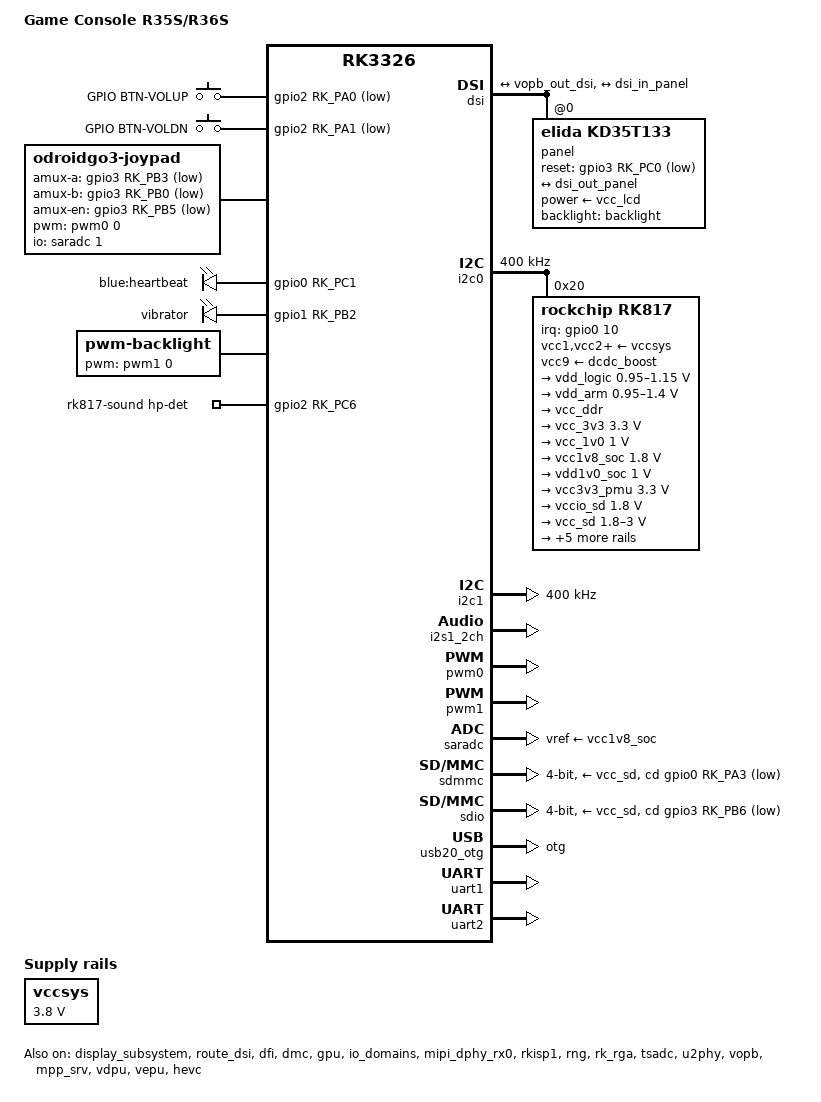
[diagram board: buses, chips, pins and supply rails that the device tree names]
// SPDX-License-Identifier: (GPL-2.0+ OR MIT)
/*
 * Copyright (c) 2020 Hardkernel Co., Ltd
 */

/dts-v1/;
#include <dt-bindings/display/drm_mipi_dsi.h>
#include <dt-bindings/gpio/gpio.h>
#include <dt-bindings/input/input.h>
#include <dt-bindings/pinctrl/rockchip.h>
#include <dt-bindings/sensor-dev.h>
#include "rk3326.dtsi"
#include "rk3326-linux.dtsi"

/ {
	model = "Game Console R35S/R36S";
	compatible = "rockchip,rk3326-odroidgo3-linux", "rockchip,rk3326";

	chosen {
                bootargs = "";
	};

	gpio_keys: odroidgo3-keys {
			compatible = "gpio-keys";
			#address-cells = <1>;
			#size-cells = <0>;
			autorepeat;
			button@0 {
				label = "GPIO BTN-VOLUP";
				linux,code = <115>;
				gpios = <&gpio2 RK_PA0 GPIO_ACTIVE_LOW>;
			};
			button@1 {
				label = "GPIO BTN-VOLDN";
				linux,code = <114>;
				gpios = <&gpio2 RK_PA1 GPIO_ACTIVE_LOW>;
			};
	};

       joypad: odroidgo3-joypad {
                compatible = "odroidgo3-joypad";
		/*
		 * Rumble motor pads on GPIO0_B7 (fitted on some boards, others
		 * add a motor themselves). 20 ms: 50 Hz, as in the DTB that got
		 * the V21's motor working, so the strength setting gives an
		 * even buzz instead of the 5 Hz pulses of 200 ms.
		 */
                pwms = <&pwm0 0 20000000 0>;
                pwm-names = "enable";
                rumble-boost-weak = <0x0000>;
                rumble-boost-strong = <0x0000>;
		 
                joypad-name = "GO-Super Gamepad";
                joypad-product = <0x1100>;
                joypad-revision = <0x0100>;

               status = "okay";
                /*
                  - odroidgo3-joypad sysfs list -
                  * for poll device interval(ms)
                  /sys/devices/platform/odroidgo3_joypad/poll_interval [rw]
                  ex) echo 20 > poll_interval
                   * for button-adc-fuzz
                  /sys/devices/platform/odroidgo3_joypad/adc_fuzz [r]
                   * for button-adc-flat
                  /sys/devices/platform/odroidgo3_joypad/adc_flat [r]

		   * for report control(1:enable, 0:disable)
		   /sys/devices/platform/odroidgo3_joypad/enable [rw]
		   * for adc calibration value setup(current adcs value -> cal value)
		   /sys/devices/platform/odroidgo3_joypad/adc_cal [rw]
		   ex) echo 0 > adc_cal

		   * for rumble period(ns)
		   /sys/devices/platform/odroidgo3_joypad/rumble_period
		   ex) echo 20000000 > rumble_period

		   * motor and strength: "pwm", "gpio" or "none"; 0-100 %
		   /sys/devices/platform/odroidgo3_joypad/rumble [r]
		   /sys/devices/platform/odroidgo3_joypad/rumble_strength [rw]

		   * for rumble boost(0~65535)
		   /sys/devices/platform/odroidgo3_joypad/rumble_boost_weak
		   /sys/devices/platform/odroidgo3_joypad/rumble_boost_strong


		   * for amux data debug
		   * Joypad driver is disabled when using this sysfs.
		   /sys/devices/platform/odroidgo3_joypad/amux_debug [rw]
		   ex) echo 0 > amux_debug --> select amux channel
		   ex) cat amux_debug --> get adc data of seleted channel
                */

               /* gpio pincontrol setup */
                pinctrl-names = "default";
                pinctrl-0 = <&btn_pins>;
                pinctrl-1 = <&pwm0_pin>;

               /* Analog mux define */
               io-channel-names = "amux_adc";
               io-channels = <&saradc 1>;

               /* adc mux channel count */
               amux-count = <4>;
               /* adc mux select(a,b) gpio */
               amux-a-gpios = <&gpio3 RK_PB3 GPIO_ACTIVE_LOW>;
               amux-b-gpios = <&gpio3 RK_PB0 GPIO_ACTIVE_LOW>;
               /* adc mux enable gpio */
               amux-en-gpios = <&gpio3 RK_PB5 GPIO_ACTIVE_LOW>;

               /* adc calculate scale */
               button-adc-scale = <2>;

               /* adc deadzone range  */
               button-adc-deadzone = <64>;

               /*
                 specifies fuzz value that is used to filter noise from
                 the event stream.
               */
               button-adc-fuzz = <32>;
               button-adc-flat = <32>;

               /*
                 Analog Stick data tuning value(precent)
                 p = positive direction, n = negative direction
                 report value = (real_adc_data * tuning_value) / 100
               */
               abs_x-p-tuning = <200>;
               abs_x-n-tuning = <200>;

               abs_y-p-tuning = <200>;
               abs_y-n-tuning = <200>;

               abs_rx-p-tuning = <200>;
               abs_rx-n-tuning = <200>;

               abs_ry-p-tuning = <200>;
               abs_ry-n-tuning = <200>;

               /* poll device interval (ms), adc read interval */
               poll-interval = <10>;

               /*
                 a button edge starts a poll at once instead of waiting
                 up to poll-interval; changes within the debounce time
                 after a reported change are ignored (contact bounce);
                 10 ms matches what the old 10 ms poll filtered
               */
               button-irq;
               button-debounce-ms = <10>;

		/* required for RG351MP */
		invert-absx;
		invert-absy;
		
		/* gpio button auto repeat set value : default disable */
		/*
			autorepeat;
		*/

            	/*** GameConsole R36s Switch layout ***			 
				 /-----------------------------------------------/|
			    /												/ |
               |------------------------------------------------| |
               |  |------------------------------------------|  | |
               |  |                                          |  | |
               |  |                                          |  | |
               |  |                                          |  | |
               |  |                                          |  | |
               |  |                LCD Display               |  | |
               |  |                                          |  | |
               |  |                                          |  | |
               |  |                                          |  | |
               |  |------------------------------------------|  | |
               |------------------------------------------------| \
               | sw15  sw21        sw10   sw9        sw20  sw16 |  |
               |------------------------------------------------| /
               | 												| |
               |      sw1      					     sw8    	| |
               |   sw3   sw4   					  sw7   sw5 	| |
               |      sw2      					     sw6    	| |
               | 												| |
               | 												| |
               | 												| |
               |			JOYPAD				JOYPAD			| |
               | 												| |
               |												| |
               |------------| DC  |---|Aux|---| OTG |-----------|/
               */
                /*
                    joypad driver is poll-device driver.
                    poll-device is does not support wakeup-source.
               */
                sw1 {
                        gpios = <&gpio1 RK_PB4 GPIO_ACTIVE_LOW>;
                        label = "GPIO DPAD-UP";
                        linux,code = <103>; // 0x220
                };
                sw2 {
                        gpios = <&gpio1 RK_PB5 GPIO_ACTIVE_LOW>;
                        label = "GPIO DPAD-DOWN";
                        linux,code = <108>; // 0x221
                };
                sw3 {
                        gpios = <&gpio1 RK_PB6 GPIO_ACTIVE_LOW>;
                        label = "GPIO DPAD-LEFT";
                        linux,code = <105>; // 0x222
                };
                sw4 {
                        gpios = <&gpio1 RK_PB7 GPIO_ACTIVE_LOW>;
                        label = "GPIO DPAD-RIGHT";
                        linux,code = <106>; // 0x223
                };
                sw5 {
                        gpios = <&gpio1 RK_PA2 GPIO_ACTIVE_LOW>;
                        label = "GPIO KEY BTN-A";
                        linux,code = <304>; // 0x131
                };
                sw6 {
                        gpios = <&gpio1 RK_PA5 GPIO_ACTIVE_LOW>;
                        label = "GPIO BTN-B";
                        linux,code = <305>; // 0x130
                };
                sw7 {
                        gpios = <&gpio1 RK_PA6 GPIO_ACTIVE_LOW>;
                        label = "GPIO BTN-Y";
                        linux,code = <308>; // 0x134
                };
                sw8 {
                        gpios = <&gpio1 RK_PA7 GPIO_ACTIVE_LOW>;
                        label = "GPIO BTN-X";
                        linux,code = <307>; // 0x133
                };
                sw11 {
                        gpios = <&gpio2 RK_PA2 GPIO_ACTIVE_LOW>;
                        label = "GPIO F3";
                        linux,code = <158>; // 0x2c2
                };
                sw12 {
                        gpios = <&gpio2 RK_PA3 GPIO_ACTIVE_LOW>;
                        label = "GPIO F4";
                        linux,code = <125>; // 0x2c3
                };
                sw13 {
                        gpios = <&gpio2 RK_PA4 GPIO_ACTIVE_LOW>;
                        label = "GPIO F5";
                        linux,code = <172>; // 0x2c4
                };
                sw15 {
                        gpios = <&gpio2 RK_PA6 GPIO_ACTIVE_LOW>;
                        label = "GPIO TOP-LEFT";
                        linux,code = <310>; // 0x02
                };
                sw16 {
                        gpios = <&gpio2 RK_PA7 GPIO_ACTIVE_LOW>;
                        label = "GPIO TOP-RIGHT";
                        linux,code = <311>; // 0x05
                };
                sw19 {
                        gpios = <&gpio3 RK_PB1 GPIO_ACTIVE_LOW>;
                        label = "GPIO F1";
                        linux,code = <314>;
                };
                sw20 {
                        gpios = <&gpio3 RK_PB7 GPIO_ACTIVE_LOW>;
                        label = "GPIO TOP-RIGHT2";
                        linux,code = <313>;
                };
                sw21 {
                        gpios = <&gpio3 RK_PB2 GPIO_ACTIVE_LOW>;
                        label = "GPIO TOP-LEFT2";
                        linux,code = <312>;
                };
                sw22 {
                        gpios = <&gpio3 RK_PB4 GPIO_ACTIVE_LOW>;
                        label = "GPIO F2";
                        linux,code = <315>;
                };
        };


	fiq-debugger {
		compatible = "rockchip,fiq-debugger";
		rockchip,serial-id = <2>;
		rockchip,wake-irq = <0>;
		/* If enable uart uses irq instead of fiq */
		rockchip,irq-mode-enable = <0>;
		rockchip,baudrate = <115200>;  /* Only 115200 and 1500000 */
		interrupts = <GIC_SPI 127 IRQ_TYPE_LEVEL_LOW>;
		pinctrl-names = "default";
		pinctrl-0 = <&uart2m1_xfer>;
		status = "okay";
	};

	leds: gpio_leds {
		compatible = "gpio-leds";

		pinctrl-names = "led_pins";
		pinctrl-0 = <&led_pins>;

		/* Blue LED : GPIO0_C1 */
		heartbeat {
			label = "blue:heartbeat";
			gpios = <&gpio0 RK_PC1 GPIO_ACTIVE_HIGH>;
			linux,default-trigger = "heartbeat";
		};
		/* Vibra LED : GPIO1_B2 */
		vibrator {
			label = "vibrator";
			gpios = <&gpio1 RK_PB2 GPIO_ACTIVE_HIGH>;
			linux,default-trigger = "transient";
		};		
	};

	/*
	 * Status LED (drivers/soc/rockchip/andr36oid_status_led.c), one state
	 * per pin and colour: 0 low, 1 high, 2 floating. Genuine R36S: a red
	 * LED on GPIO2_B5 next to the green one, which is always on, so "off"
	 * is green. Colour tables from Raoni07's R36S LED Control. Enabled by
	 * the DTs of the boards it is known for.
	 */
	status_led: andr36oid-status-led {
		compatible = "andr36oid,status-led";
		gpios = <&gpio2 RK_PB5 GPIO_ACTIVE_HIGH>;
		color-names = "green", "red";
		color-states = <0>, <1>;
		andr36oid,battery = "11 green 0 red";
		andr36oid,charging = "green";
		andr36oid,mode = "battery";
		status = "disabled";
	};

	backlight: backlight {
		compatible = "pwm-backlight";
		pwms = <&pwm1 0 62745 0>;
		brightness-levels = <
			  0   1   2   3   4   5   6   7
			  8   9  10  11  12  13  14  15
			 16  17  18  19  20  21  22  23
			 24  25  26  27  28  29  30  31
			 32  33  34  35  36  37  38  39
			 40  41  42  43  44  45  46  47
			 48  49  50  51  52  53  54  55
			 56  57  58  59  60  61  62  63
			 64  65  66  67  68  69  70  71
			 72  73  74  75  76  77  78  79
			 80  81  82  83  84  85  86  87
			 88  89  90  91  92  93  94  95
			 96  97  98  99 100 101 102 103
			104 105 106 107 108 109 110 111
			112 113 114 115 116 117 118 119
			120 121 122 123 124 125 126 127
			128 129 130 131 132 133 134 135
			136 137 138 139 140 141 142 143
			144 145 146 147 148 149 150 151
			152 153 154 155 156 157 158 159
			160 >;
		default-brightness-level = <51>; /* default 50% */
	};

	reserved-memory {
		#address-cells = <2>;
		#size-cells = <2>;
		ranges;

		ramoops@110000 {
			compatible = "ramoops";
			reg = <0x0 0x110000 0x0 0xf0000>;
			/*
			 * One cell each: ramoops reads these as u32, so <0x0 size>
			 * pairs read as 0 and the driver would refuse to load.
			 * Sizes as in px30-android.dtsi: 128K oops/panic record,
			 * 512K kernel log, 320K Android log (pmsg).
			 */
			record-size = <0x20000>;
			console-size = <0x80000>;
			ftrace-size = <0x00000>;
			pmsg-size = <0x50000>;
		};
	};

	rk817-sound {
		compatible = "simple-audio-card";
		simple-audio-card,format = "i2s";
		simple-audio-card,name = "rockchip,rk817-codec";
		simple-audio-card,mclk-fs = <256>;
		simple-audio-card,widgets =
			"Microphone", "Mic Jack",
			"Headphone", "Headphone Jack";
		simple-audio-card,routing =
			"MIC_IN", "Mic Jack",
			/*"IN1P", "Mic Jack",*/
			"Headphone Jack", "HPOL",
			"Headphone Jack", "HPOR";
		simple-audio-card,hp-det-gpio = <&gpio2 RK_PC6 GPIO_ACTIVE_HIGH>;
		simple-audio-card,codec-hp-det = <1>;
		simple-audio-card,cpu {
			sound-dai = <&i2s1_2ch>;
		};
		simple-audio-card,codec {
			sound-dai = <&rk817_codec>;
		};
	};

	vccsys: vccsys {
		compatible = "regulator-fixed";
		regulator-name = "vcc3v8_sys";
		regulator-always-on;
		regulator-min-microvolt = <3800000>;
		regulator-max-microvolt = <3800000>;
	};

	wireless-wlan {
		compatible = "wlan-platdata";
		rockchip,grf = <&grf>;
		/* wifi_chip_type - wifi chip define
		* ap6210, ap6330, ap6335
		* rtl8188eu, rtl8723bs, rtl8723bu
		* esp8089
		*/
		wifi_chip_type = "esp8089";
		sdio_vref = <3300>; //1800mv or 3300mv
		status = "okay";
	};

};


&bus_apll {
	bus-supply = <&vdd_logic>;
	status = "okay";
};

&cpu0 {
	cpu-supply = <&vdd_arm>;
};

&cpu0_opp_table {
	/*
	 * Neither scale the PLL down nor delete OPPs: with 1 the PLL runs at
	 * the first rate that reaches max-volt (or the bin-scaling-sel rate)
	 * whatever is asked for, while cpufreq reports the asked rate.
	 * Everything above 1.296GHz is a boost OPP: the console always boots
	 * without them and Settings turns them on through cpufreq/boost.
	 */
	rockchip,avs = <2>;
	/delete-property/ rockchip,bin-scaling-sel;
	rockchip,max-volt = <1400000>;

	/delete-node/ opp-96000000;
	/delete-node/ opp-216000000;

	opp-1368000000 {
		opp-hz = /bits/ 64 <1368000000>;
		opp-microvolt = <1350000 1350000 1350000>;
		opp-microvolt-L0 = <1350000 1350000 1350000>;
		opp-microvolt-L1 = <1350000 1350000 1350000>;
		opp-microvolt-L2 = <1350000 1350000 1350000>;
		opp-microvolt-L3 = <1350000 1350000 1350000>;
		clock-latency-ns = <40000>;
		turbo-mode;
	};
	opp-1416000000 {
		opp-hz = /bits/ 64 <1416000000>;
		opp-microvolt = <1400000 1400000 1400000>;
		opp-microvolt-L0 = <1400000 1400000 1400000>;
		opp-microvolt-L1 = <1400000 1400000 1400000>;
		opp-microvolt-L2 = <1400000 1400000 1400000>;
		opp-microvolt-L3 = <1400000 1400000 1400000>;
		clock-latency-ns = <40000>;
		turbo-mode;
	};
	opp-1440000000 {
		opp-hz = /bits/ 64 <1440000000>;
		opp-microvolt = <1400000 1400000 1400000>;
		opp-microvolt-L0 = <1400000 1400000 1400000>;
		opp-microvolt-L1 = <1400000 1400000 1400000>;
		opp-microvolt-L2 = <1400000 1400000 1400000>;
		opp-microvolt-L3 = <1400000 1400000 1400000>;
		clock-latency-ns = <40000>;
		turbo-mode;
	};
	opp-1464000000 {
		opp-hz = /bits/ 64 <1464000000>;
		opp-microvolt = <1400000 1400000 1400000>;
		opp-microvolt-L0 = <1400000 1400000 1400000>;
		opp-microvolt-L1 = <1400000 1400000 1400000>;
		opp-microvolt-L2 = <1400000 1400000 1400000>;
		opp-microvolt-L3 = <1400000 1400000 1400000>;
		clock-latency-ns = <40000>;
		turbo-mode;
	};
	opp-1488000000 {
		opp-hz = /bits/ 64 <1488000000>;
		opp-microvolt = <1400000 1400000 1400000>;
		opp-microvolt-L0 = <1400000 1400000 1400000>;
		opp-microvolt-L1 = <1400000 1400000 1400000>;
		opp-microvolt-L2 = <1400000 1400000 1400000>;
		opp-microvolt-L3 = <1400000 1400000 1400000>;
		clock-latency-ns = <40000>;
		turbo-mode;
	};
	opp-1512000000 {
		opp-hz = /bits/ 64 <1512000000>;
		opp-microvolt = <1400000 1400000 1400000>;
		opp-microvolt-L0 = <1400000 1400000 1400000>;
		opp-microvolt-L1 = <1400000 1400000 1400000>;
		opp-microvolt-L2 = <1400000 1400000 1400000>;
		opp-microvolt-L3 = <1400000 1400000 1400000>;
		clock-latency-ns = <40000>;
		turbo-mode;
	};
};

&display_subsystem {
        status = "okay";
        ports = <&vopb_out>;
        status = "okay";

        route {
                route-dsi {
                        status = "okay";
                        connect = <&vopb_out_dsi>;
                };

        };
};


&dsi {
	status = "okay";

	panel@0 {
		compatible = "elida,kd35t133", "simple-panel-dsi";
		reg = <0>;

		/* pwm1 backlight */
		backlight = <&backlight>;

		/* LCD reset gpio GPIO3.C0 */
		reset-gpios = <&gpio3 RK_PC0 GPIO_ACTIVE_LOW>;

		/* RK817 LDO8 */
		power-supply = <&vcc_lcd>;

		
		prepare-delay-ms = <20>;
		reset-delay-ms = <150>;
		init-delay-ms = <20>;
		enable-delay-ms = <120>;
		disable-delay-ms = <50>;
		unprepare-delay-ms = <20>;

		/* LCD size */
		width-mm = <52>;
		height-mm = <70>;


		dsi,flags = <(MIPI_DSI_MODE_VIDEO           |
			      MIPI_DSI_MODE_VIDEO_BURST     |
			      MIPI_DSI_MODE_LPM             |
			      MIPI_DSI_MODE_EOT_PACKET)>;

		dsi,format = <MIPI_DSI_FMT_RGB888>;
		dsi,lanes = <4>;

		/*
			- panel-init-sequence data description -
			  mipi_cmd, delay(ms), len, lcd_cmd, lcd_data...

			- mipi_cmd description -
			  05 : MIPI_DSI_SHORT_WRITE
			  15 : MIPI_DSI_SHORT_WRITE_PARAM
			  39 : MIPI_DSI_LONG_WRITE

			- ST7710S (Initialize sequence) -
			  01: Soft reset
			  11: Sleep out & 250ms wait
			  FF: Bank select CMD
			  C0: CMD2 Bank0 LNESET
			  C1: CMD2 Bank0 PORCTRL
			  C2: CMD2 Bank0 INVSEL
			  CC: ???
			  B0: CMD2 Bank0 PVGAMCTRL
			  B1: CMD2 Bank0 NVGAMCTRL
			  B0: CMD2 Bank1 VRHS
			  B1: CMD2 Bank1 VCOMS
			  B2: CMD2 Bank1 VGHSS
			  B3: CMD2 Bank1 TESTCMD
			  B5: CMD2 Bank1 VGLS
			  B7: CMD2 Bank1 PWRCTRL1
			  B8: CMD2 Bank1 PWRCTRL2
			  B9: CMD2 Bank1 PWRCTRL3
			  C1: CMD2 Bank1 PDR1
			  C2: CMD2 Bank1 PDR2
			  D0: CMD2 Bank1 MIPISET1
			  E0 ~ EF : GIP Setting
			  3A: Normal CMD COLMOD
			  53: Normal CMD WRCTRLD
			  55: Normal CMD WRCABC
			  5E: Normal CMD WRCABCMB
			  29: DisplayOn & 50ms wait
		*/

		/* 28: DisplayOff */
		/* 10: SleepIn */
		panel-exit-sequence = [
			05 14 01 28
			05 0A 01 10
		];
		
		display-timings {
			native-mode = <&timing0>;

			timing0: timing0 {
				clock-frequency = <29000000>;
				hactive = <640>;
				vactive = <480>;
				hfront-porch = <46>;
				hsync-len = <2>;
				hback-porch = <44>;
				vfront-porch = <165>;
				vsync-len = <2>;
				vback-porch = <14>;
				hsync-active = <0>;
				vsync-active = <0>;
				de-active = <0>;
				pixelclk-active = <1>;
			};

			timing1: timing1 {
				clock-frequency = <29000000>;
				hactive = <640>;
				vactive = <480>;
				hfront-porch = <46>;
				hsync-len = <2>;
				hback-porch = <44>;
				vfront-porch = <10>;
				vsync-len = <2>;
				vback-porch = <14>;
				hsync-active = <0>;
				vsync-active = <0>;
				de-active = <0>;
				pixelclk-active = <1>;
			};

			timing2: timing2 {
				clock-frequency = <29000000>;
				hactive = <640>;
				vactive = <480>;
				hfront-porch = <46>;
				hsync-len = <2>;
				hback-porch = <44>;
				vfront-porch = <16>;
				vsync-len = <2>;
				vback-porch = <14>;
				hsync-active = <0>;
				vsync-active = <0>;
				de-active = <0>;
				pixelclk-active = <1>;
			};
		};		
						
		ports {
			#address-cells = <1>;
			#size-cells = <0>;

			port@0 {
				reg = <0>;
				dsi_in_panel: endpoint {
					remote-endpoint = <&dsi_out_panel>;
				};
			};
		};
	};

        ports {
                #address-cells = <1>;
                #size-cells = <0>;
                port@0 {
                        reg = <0>;
                        #address-cells = <1>;
                        #size-cells = <0>;

                        dsi_in_vopb: endpoint@0 {
                                reg = <0>;
                                status = "okay";
				remote-endpoint = <&vopb_out_dsi>;
                        };
		};
                port@1 {
                        reg = <1>;
                        #address-cells = <1>;
                        #size-cells = <0>;
                        dsi_out_panel: endpoint {
                                remote-endpoint = <&dsi_in_panel>;
                        };
                };
        };
};

&dsi_in_vopb {
	status = "okay";
};

&dsi_in_vopl {
        status = "disabled";
};

&route_dsi {
	connect = <&vopb_out_dsi>;
	status = "okay";
};

&dfi {
	status = "okay";
};

&dmc {
	auto-freq-en = <1>;
	center-supply = <&vdd_logic>;
	status = "okay";
};

&dmc_opp_table {
	/delete-node/ opp-194000000;
	/delete-node/ opp-328000000;
	/delete-node/ opp-450000000;
	/delete-node/ opp-856000000;

	opp-786000000 {
		status = "okay";
	};
};

&gpu_opp_table {
        /delete-node/ opp-200000000;
        /delete-node/ opp-300000000;
        opp-520000000 {
                opp-hz = /bits/ 64 <520000000>;
                opp-microvolt = <1150000>;
                opp-microvolt-L0 = <1150000>;
                opp-microvolt-L1 = <1150000>;
                opp-microvolt-L2 = <1100000>;
                opp-microvolt-L3 = <1050000>;
        };
};

&emmc {
	status = "disabled";
};

&gpu {
	mali-supply = <&vdd_logic>;
	status = "okay";
//	physical-memory-group-manager = <&gpu_physical_memory_group_manager>;
};

&i2c0 {
	status = "okay";
	clock-frequency = <400000>;
	i2c-scl-rising-time-ns = <280>;
	i2c-scl-falling-time-ns = <16>;

	rk817: pmic@20 {
		compatible = "rockchip,rk817";
		reg = <0x20>;
		interrupt-parent = <&gpio0>;
		interrupts = <10 IRQ_TYPE_LEVEL_LOW>;
		pinctrl-names = "default", "pmic-sleep",
				"pmic-power-off", "pmic-reset";
		pinctrl-0 = <&pmic_int>;
		pinctrl-1 = <&soc_slppin_slp>, <&rk817_slppin_slp>;
		pinctrl-2 = <&soc_slppin_gpio>, <&rk817_slppin_pwrdn>;
		pinctrl-3 = <&soc_slppin_rst>, <&rk817_slppin_rst>;
		rockchip,system-power-controller;
		wakeup-source;
		#clock-cells = <1>;
		clock-output-names = "rk808-clkout1", "rk808-clkout2";
		//fb-inner-reg-idxs = <2>;
		/* 1: rst regs (default in codes), 0: rst the pmic */
		pmic-reset-func = <1>;

		vcc1-supply = <&vccsys>;
		vcc2-supply = <&vccsys>;
		vcc3-supply = <&vccsys>;
		vcc4-supply = <&vccsys>;
		vcc5-supply = <&vccsys>;
		vcc6-supply = <&vccsys>;
		vcc7-supply = <&vccsys>;
		vcc8-supply = <&vccsys>;
		vcc9-supply = <&dcdc_boost>;

		pwrkey {
			status = "okay";
		};

		pinctrl_rk8xx: pinctrl_rk8xx {
			gpio-controller;
			#gpio-cells = <2>;

			rk817_ts_gpio1: rk817_ts_gpio1 {
				pins = "gpio_ts";
				function = "pin_fun1";
				/* output-low; */
				/* input-enable; */
			};

			rk817_gt_gpio2: rk817_gt_gpio2 {
				pins = "gpio_gt";
				function = "pin_fun1";
			};

			rk817_pin_ts: rk817_pin_ts {
				pins = "gpio_ts";
				function = "pin_fun0";
			};

			rk817_pin_gt: rk817_pin_gt {
				pins = "gpio_gt";
				function = "pin_fun0";
			};

			rk817_slppin_null: rk817_slppin_null {
				pins = "gpio_slp";
				function = "pin_fun0";
			};

			rk817_slppin_slp: rk817_slppin_slp {
				pins = "gpio_slp";
				function = "pin_fun1";
			};

			rk817_slppin_pwrdn: rk817_slppin_pwrdn {
				pins = "gpio_slp";
				function = "pin_fun2";
			};

			rk817_slppin_rst: rk817_slppin_rst {
				pins = "gpio_slp";
				function = "pin_fun3";
			};
		};

		regulators {
			vdd_logic: DCDC_REG1 {
				regulator-always-on;
				regulator-boot-on;
				regulator-min-microvolt = <950000>;
				regulator-max-microvolt = <1150000>;
				regulator-ramp-delay = <6001>;
				regulator-initial-mode = <0x2>;
				regulator-name = "vdd_logic";
				regulator-state-mem {
					regulator-on-in-suspend;
					regulator-suspend-microvolt = <950000>;
				};
			};

			vdd_arm: DCDC_REG2 {
				regulator-always-on;
				regulator-boot-on;
				regulator-min-microvolt = <950000>;
				regulator-max-microvolt = <1400000>;
				regulator-ramp-delay = <6001>;
				regulator-initial-mode = <0x2>;
				regulator-name = "vdd_arm";
				regulator-state-mem {
					regulator-off-in-suspend;
					regulator-suspend-microvolt = <950000>;
				};
			};

			vcc_ddr: DCDC_REG3 {
				regulator-always-on;
				regulator-boot-on;
				regulator-initial-mode = <0x2>;
				regulator-name = "vcc_ddr";
				regulator-state-mem {
					regulator-on-in-suspend;
				};
			};

			vcc_3v3: DCDC_REG4 {
				regulator-always-on;
				regulator-boot-on;
				regulator-min-microvolt = <3300000>;
				regulator-max-microvolt = <3300000>;
				regulator-initial-mode = <0x2>;
				regulator-name = "vcc_3v3";
				regulator-state-mem {
					regulator-off-in-suspend;
					regulator-suspend-microvolt = <3300000>;
				};
			};

			/*
			 * On in sleep and awake, as in the stock and ArkOS DTBs. We
			 * used to switch it off, the only rail where we differed, and
			 * consoles sometimes never woke from deep sleep.
			 */
			vcc_1v0: LDO_REG1 {
				regulator-always-on;
				regulator-boot-on;
				regulator-min-microvolt = <1000000>;
				regulator-max-microvolt = <1000000>;
				regulator-name = "vcc_1v0";
				regulator-state-mem {
					regulator-on-in-suspend;
					regulator-suspend-microvolt = <1000000>;
				};
			};

			vcc1v8_soc: LDO_REG2 {
				regulator-always-on;
				regulator-boot-on;
				regulator-min-microvolt = <1800000>;
				regulator-max-microvolt = <1800000>;

				regulator-name = "vcc1v8_soc";
				regulator-state-mem {
					regulator-on-in-suspend;
					regulator-suspend-microvolt = <1800000>;
				};
			};

			vdd1v0_soc: LDO_REG3 {
				regulator-always-on;
				regulator-boot-on;
				regulator-min-microvolt = <1000000>;
				regulator-max-microvolt = <1000000>;

				regulator-name = "vcc1v0_soc";
				regulator-state-mem {
					regulator-on-in-suspend;
					regulator-suspend-microvolt = <1000000>;
				};
			};

			vcc3v3_pmu: LDO_REG4 {
				regulator-always-on;
				regulator-boot-on;
				regulator-min-microvolt = <3300000>;
				regulator-max-microvolt = <3300000>;

				regulator-name = "vcc3v3_pmu";
				regulator-state-mem {
					regulator-on-in-suspend;
					regulator-suspend-microvolt = <3300000>;

				};
			};

			vccio_sd: LDO_REG5 {
				regulator-always-on;
				regulator-boot-on;
				regulator-min-microvolt = <1800000>;
				regulator-max-microvolt = <1800000>;

				regulator-name = "vccio_sd";
				regulator-state-mem {
					regulator-on-in-suspend;
					regulator-suspend-microvolt = <1800000>;
				};
			};

			vcc_sd: LDO_REG6 {
				regulator-min-microvolt = <1800000>;
				regulator-max-microvolt = <3000000>;
				regulator-boot-on;

				regulator-name = "vcc_sd";
				regulator-state-mem {
					regulator-on-in-suspend;
					regulator-suspend-microvolt = <3000000>;

				};
			};

			/* GO3 : Not used LCD Backlight Power */
			vcc_backlight: LDO_REG7 {
				regulator-min-microvolt = <3300000>;
				regulator-max-microvolt = <3300000>;
				regulator-name = "vcc_backlight";
				regulator-state-mem {
					regulator-off-in-suspend;
					regulator-suspend-microvolt = <3300000>;
				};
			};

			/* Rev 0.2 LCD IO Power */
			vcc_lcd: LDO_REG8 {
				regulator-min-microvolt = <2800000>;
				regulator-max-microvolt = <2800000>;
				regulator-name = "vcc_lcd";
				regulator-state-mem {
					regulator-off-in-suspend;
					regulator-suspend-microvolt = <2800000>;
				};
			};

			vcc_wifi: LDO_REG9 {
				regulator-always-on;
				regulator-boot-on;
				regulator-min-microvolt = <3300000>;
				regulator-max-microvolt = <3300000>;

				regulator-name = "vcc_wifi";
				regulator-state-mem {
					regulator-off-in-suspend;
					regulator-suspend-microvolt = <3300000>;
				};
			};

			dcdc_boost: BOOST {
				regulator-always-on;
				regulator-boot-on;
				regulator-min-microvolt = <5000000>;
				regulator-max-microvolt = <5400000>;
				regulator-name = "boost";
			};

			otg_switch: OTG_SWITCH {
				regulator-boot-on;
				regulator-name = "otg_switch";
			};
		};

		/*
			- HCP775474ZC Battery
			Capacity : 3.7V 4000mAh, 14.8Wh
			Rated Voltage = 3.7V
			Charge Cut-Off Voltage : 4.25V
			Discharge Cut-Off Voltage : 3.0V
			Internal Impedance : 180 mOhm
			Charging Voltage : 4.2V
			Charging Voltage Max : 4.25V
			Sample resister : 10 mohm (R12)
		*/
		battery {
			compatible = "rk817,battery";
			/*
			 * Relaxed OCV curve of the 1S LiPo used by the RK3326
			 * clones (ODROID-GO Advance characterisation, 4.2V
			 * charge). The previous table was inherited from
			 * 351droid and topped out at 4.0V = 100 %, 3.165V = 0 %.
			 */
			ocv_table = <3500 3625 3685 3697 3718 3735 3748
			3760 3774 3788 3802 3816 3834 3853
			3877 3908 3946 3975 4018 4071 4106>;

			design_capacity = <3200>;
			design_qmax = <3500>;
			bat_res = <180>;
			sleep_enter_current = <300>;
			sleep_exit_current = <300>;
			sleep_filter_current = <100>;
			/*
			 * Loaded voltage. The zero algorithm treats
			 * power_off_thresd + I * (bat_res + 50 mOhm) as empty,
			 * so 3400 made a 1.5 A load count 3.75 V (27 %) as 0 %.
			 * 3300 is the value this OCV table was made with.
			 */
			power_off_thresd = <3300>;
			zero_algorithm_vol = <3700>;
			max_soc_offset = <30>;
			monitor_sec = <5>;
			virtual_power = <0>;
			sample_res = <10>;
            /* power_dc2otg = <0>; */
		};

		charger {
			compatible = "rk817,charger";
			min_input_voltage = <4500>;
			max_input_current = <1500>;
			max_chrg_current = <2000>;
			max_chrg_voltage = <4200>;
			chrg_term_mode = <0>;
			chrg_finish_cur = <52>;
			virtual_power = <0>;
			sample_res = <10>;

			/* P.C.B rev0.2 DC Detect & Charger Status LED GPIO */
			dc_det_gpio  = <&gpio0 RK_PB3 GPIO_ACTIVE_HIGH>;
			bat_low_gpio = <&gpio2 RK_PB5 GPIO_ACTIVE_HIGH>;

			extcon = <&u2phy>;
		};

		rk817_codec: codec {
			#sound-dai-cells = <0>;
			compatible = "rockchip,rk817-codec";
			clocks = <&cru SCLK_I2S1_OUT>;
			clock-names = "mclk";
			pinctrl-names = "default";
			pinctrl-0 = <&i2s1_2ch_mclk>;
			hp-volume = <20>;
			spk-volume = <3>;
			status = "okay";
		};
	};
};

/* EXT Header(P2) : 7(SCL:GPIO0.C2), 8(SDA:GPIO0.C3) */
&i2c1 {
	status = "okay";
	clock-frequency = <400000>;
};

/* MIPI CSI I2C */
&i2c2 {
	status = "disabled";
};


/* I2S 1 Channel Used */
&i2s1_2ch {
	status = "okay";
	#sound-dai-cells = <0>;
};

&io_domains {
	/* GRF Register Voltage select control */
	status = "okay";

	/* SDIO I/O Voltage */
	vccio1-supply = <&vccio_sd>;
	/* SDMMC I/O Voltage */
	vccio2-supply = <&vccio_sd>;
	/* CAM I/O Voltage */
	vccio3-supply = <&vcc_3v3>;
	/* LVDS/LCDC I/O Voltage */
	vccio4-supply = <&vcc_3v3>;
	/* I2S I/O Voltage */
	vccio5-supply = <&vcc_3v3>;
	/* eMMC I/O Voltage */
	vccio6-supply = <&vcc_3v3>;
};

&isp_mmu {
	status = "okay";
};

&mipi_dphy_rx0 {
	status = "okay";
};

&rkisp1 {
	status = "disabled";
};

&rng {
	status = "okay";
};

&spi0 {
	status = "disabled";
};

&pmu_io_domains {
	/* PMU GRF Register Voltage select control */
	status = "okay";

	/* PMU I/O Voltage */
	pmuio1-supply = <&vcc3v3_pmu>;
	/* GPIO0_B/GPIO0_C, Flash */
	pmuio2-supply = <&vcc3v3_pmu>;
};

/* Rumble PWM */
&pwm0 {
	status = "okay";
};

/* LCD Backlight PWM */
&pwm1 {
	status = "okay";
};

&route_dsi {
	connect = <&vopb_out_dsi>;
	status = "okay";
};

&rkisp1 {
	status = "okay";
};

&rk_isp {
	status = "disabled";
};

&rk_rga {
	status = "okay";
};

&rockchip_suspend {
	status = "okay";
	rockchip,sleep-debug-en = <1>;
	/*
	 * The stock flags without PMU_PMUALIVE_32K and PMU_DIS_OSC: the 24 MHz
	 * crystal keeps running in sleep. With them, our BL31 (v1.14, 2018)
	 * times the wake-up with a ring oscillator it measures only once, when
	 * the console goes to sleep; Rockchip fixed that in v1.33. A suspect for
	 * consoles that never wake from deep sleep. Costs a little battery.
	 */
	rockchip,sleep-mode-config = <
		(0
		| RKPM_SLP_ARMOFF
		| RKPM_SLP_PMU_HW_PLLS_PD
		| RKPM_SLP_PMIC_LP
		)
	>;
};

&saradc {
	status = "okay";
	vref-supply = <&vcc1v8_soc>;
};

&sdmmc {
	bus-width = <4>;
	cap-mmc-highspeed;
	cap-sd-highspeed;
	supports-sd;
	card-detect-delay = <800>;
	ignore-pm-notify;
	cd-gpios = <&gpio0 RK_PA3 GPIO_ACTIVE_LOW>; /*[> CD GPIO <]*/
	sd-uhs-sdr12;
	sd-uhs-sdr25;
	sd-uhs-sdr50;
	sd-uhs-sdr104;
	vqmmc-supply = <&vccio_sd>;
	vmmc-supply = <&vcc_sd>;
	status = "okay";
};

&sdio {
	bus-width = <4>;
	cap-mmc-highspeed;
	cap-sd-highspeed;
	supports-sd;
	card-detect-delay = <800>;
	ignore-pm-notify;
	cd-gpios = <&gpio3 RK_PB6 GPIO_ACTIVE_LOW>; /*[> CD GPIO <]*/
	/*
	 * The second slot's I/O rail (vccio_sd) is fixed at 1.8 V and its card
	 * power (vcc_sd) can't be cycled because slot 1 shares it, so the UHS
	 * switch to 1.8 V signalling leaves cards stuck. Stay at high speed,
	 * like the stock R36S V12 firmware does.
	 */
	no-1-8-v;
	vqmmc-supply = <&vccio_sd>;
	vmmc-supply = <&vcc_sd>;
	status = "okay";
};

&tsadc {
	rockchip,hw-tshut-mode = <1>; /* tshut mode 0:CRU 1:GPIO */
	rockchip,hw-tshut-polarity = <0>; /* tshut polarity 0:LOW 1:HIGH */
	pinctrl-names = "gpio", "otpout";
	pinctrl-0 = <&tsadc_otp_gpio>;
	pinctrl-1 = <&tsadc_otp_out>;
	status = "okay";
};

&u2phy {
	status = "okay";

	u2phy_host: host-port {
		rockchip,low-power-mode;	
		status = "okay";
	};

	/*
	 * The OTG USB-C port can be a host (pads, drives, network adapters)
	 * or a device (adb, MTP to a PC). Its ID pin does not reliably follow
	 * the cable, so the port starts as a host, like it did before, and
	 * Android switches it through the phy's "otg_mode" attribute.
	 *
	 * VBUS on this port does not come from the RK817 OTG switch (the
	 * charger turns that off at probe and host mode still powers
	 * devices), so skip VBUS detection/charger detection and never ask
	 * the charger to enable its OTG boost.
	 *
	 * That 5 V is always on, so a computer on this port while a charger
	 * feeds the DC port puts two supplies on one line. The phy refuses
	 * device mode while a charger is online and switches back to host as
	 * soon as one is plugged in. A computer on the OTG port does not count
	 * as a charger here: with vbus-always-on the phy runs no charger
	 * detection, so only the DC detect GPIO sets "ac" online.
	 */
	u2phy_otg: otg-port {
		rockchip,low-power-mode;
		rockchip,vbus-always-on;
		rockchip,no-vbus-en-extcon;
		rockchip,host-while-charging;
		rockchip,default-otg-mode = "host";
		status = "okay";
	};
};

&usb20_otg {
	dr_mode = "otg";
	status = "okay";
};

/*
	EXT Header(P2) UART :
	2(RXD:GPIO1.C0),3(TXD:GPIO1.C1),4(CTS:GPIO1.C2),5(RTS:GPIO1.C3)
*/

&uart1 {
	pinctrl-names = "default";
	pinctrl-0 = <&uart1_xfer &uart1_cts>;
	status = "okay";
};

&uart2 {
	pinctrl-names = "default";
	pinctrl-0 = <&uart2m1_xfer>;
	status = "okay";
};

&vip_mmu {
	status = "okay";
};

&vopb {
	status = "okay";
};


&vopb_mmu {
	status = "okay";
};

&vopl {
        status = "disabled";
};

&vopl_mmu {
        status = "disabled";
};

&mpp_srv {
	status = "okay";
};

&vdpu {
	status = "okay";
};

&vepu {
	status = "okay";
};

&vpu_mmu {
	status = "okay";
};

&hevc {
	status = "okay";
};

&hevc_mmu {
	status = "okay";
};

/delete-node/ &i2s0_8ch;
/delete-node/ &i2s0_8ch_sdo3;

&pinctrl {
	pmic {
		/* ODROID-GO2 : PMIC_INT(GPIO0.PB2) */
		pmic_int: pmic_int {
			rockchip,pins =
				<0 RK_PB2 RK_FUNC_GPIO &pcfg_pull_up>,
				<0 RK_PB3 RK_FUNC_GPIO &pcfg_pull_none>;
		};

		/* ODROID-GO2 : PMIC_SLEEP(GPIO0.PA4) */
		soc_slppin_gpio: soc_slppin_gpio {
			rockchip,pins =
				<0 RK_PA4 RK_FUNC_GPIO &pcfg_output_low>;
		};

		soc_slppin_slp: soc_slppin_slp {
			rockchip,pins =
				<0 RK_PA4 RK_FUNC_1 &pcfg_pull_none>;
		};

		soc_slppin_rst: soc_slppin_rst {
			rockchip,pins =
				<0 RK_PA4 RK_FUNC_2 &pcfg_pull_none>;
		};
	};

	leds {
		led_pins: led-pins {
			rockchip,pins = <0 RK_PC1 RK_FUNC_GPIO &pcfg_pull_none>;
		};
	};
	btns {
		btn_pins: btn-pins {
			rockchip,pins = <1 RK_PB4 RK_FUNC_GPIO &pcfg_pull_up>,
					<1 RK_PB5 RK_FUNC_GPIO &pcfg_pull_up>,
					<1 RK_PB6 RK_FUNC_GPIO &pcfg_pull_up>,
					<1 RK_PB7 RK_FUNC_GPIO &pcfg_pull_up>,
					<1 RK_PA2 RK_FUNC_GPIO &pcfg_pull_up>,
					<1 RK_PA5 RK_FUNC_GPIO &pcfg_pull_up>,
					<1 RK_PA6 RK_FUNC_GPIO &pcfg_pull_up>,
					<1 RK_PA7 RK_FUNC_GPIO &pcfg_pull_up>,

					<2 RK_PA0 RK_FUNC_GPIO &pcfg_pull_up>,
					<2 RK_PA1 RK_FUNC_GPIO &pcfg_pull_up>,
					<2 RK_PA2 RK_FUNC_GPIO &pcfg_pull_up>,
					<2 RK_PA3 RK_FUNC_GPIO &pcfg_pull_up>,
					<2 RK_PA4 RK_FUNC_GPIO &pcfg_pull_up>,
					<2 RK_PA5 RK_FUNC_GPIO &pcfg_pull_up>,
					<2 RK_PA6 RK_FUNC_GPIO &pcfg_pull_up>,
					<2 RK_PA7 RK_FUNC_GPIO &pcfg_pull_up>,
					<3 RK_PB1 RK_FUNC_GPIO &pcfg_pull_up>,
                    <3 RK_PB2 RK_FUNC_GPIO &pcfg_pull_up>,
					<3 RK_PB4 RK_FUNC_GPIO &pcfg_pull_up>,
					<3 RK_PB7 RK_FUNC_GPIO &pcfg_pull_up>;
		};
	};
};

/* DON'T PUT ANYTHING BELOW HERE.  PUT IT ABOVE PINCTRL */
/* DON'T PUT ANYTHING BELOW HERE.  PUT IT ABOVE PINCTRL */
/* DON'T PUT ANYTHING BELOW HERE.  PUT IT ABOVE PINCTRL */
